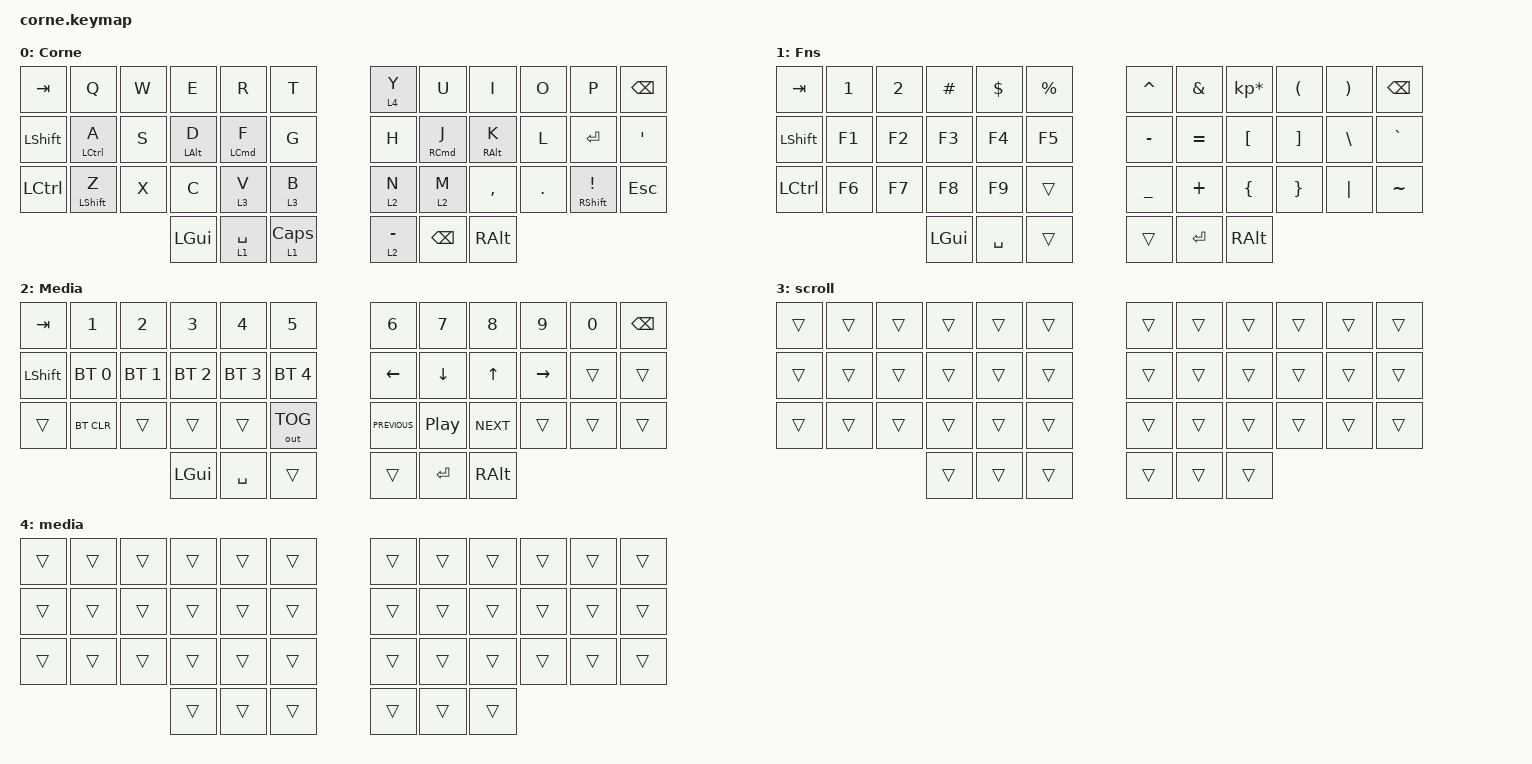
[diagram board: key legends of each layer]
/*
 * Copyright (c) 2020 The ZMK Contributors
 *
 * SPDX-License-Identifier: MIT
 */

#include <behaviors.dtsi>
#include <dt-bindings/zmk/bt.h>
#include <dt-bindings/zmk/keys.h>
#include <dt-bindings/zmk/outputs.h>

/ {
    combos {
        compatible = "zmk,combos";

        tab {
            bindings = <&kp TAB>;
            key-positions = <1 2>;
        };

        kakko {
            bindings = <&kp LEFT_BRACKET>;
            key-positions = <16 15>;
        };

        kakkotoji {
            bindings = <&kp RIGHT_BRACKET>;
            key-positions = <19 20>;
        };
    };

    keymap {
        compatible = "zmk,keymap";

        default_layer {
            // --------------------------------------   ---------------------------------------
            // |  TAB |  Q  |  W  |  E  |  R  |  T  |   |  Y  |  U   |  I  |  O  |  P  | BKSP |
            // | SHFT |  A  |  S  |  D  |  F  |  G  |   |  H  |  J   |  K  |  L  |  ;  |  '   |
            // | CTRL |  Z  |  X  |  C  |  V  |  B  |   |  N  |  M   |  ,  |  .  |  /  | ESC  |
            //                    | GUI | SPC | LWR |   | RSE | ENT  | ALT |

            label = " Corne";
            bindings = <
&kp TAB    &kp Q               &kp W  &kp E           &kp R               &kp T         &lt 4 Y      &kp U                &kp I            &kp O    &kp P                        &kp BSPC
&kp LSHFT  &mt LEFT_CONTROL A  &kp S  &mt LEFT_ALT D  &mt LEFT_COMMAND F  &kp G         &kp H        &mt RIGHT_COMMAND J  &mt RIGHT_ALT K  &kp L    &kp ENTER                    &kp SQT
&kp LCTRL  &mt LEFT_SHIFT Z    &kp X  &kp C           &lt 3 V             &lt 3 B       &lt 2 N      &lt 2 M              &kp COMMA        &kp DOT  &mt RIGHT_SHIFT EXCLAMATION  &kp ESC
                                      &kp LGUI        &lt 1 SPACE         &lt 1 CAPS    &lt 2 MINUS  &kp BACKSPACE        &kp RALT
            >;
        };

        number {
            // --------------------------------------   --------------------------------------
            // |  TAB |  !  |  @  |  #  |  $  |  %  |   |  ^  |  &  |  *  |  (  |  )  | BKSP |
            // | SHFT | Fn1 | Fn2 | Fn3 | Fn4 | Fn5 |   |  -  |  =  |  [  |  ]  |  \  |  `   |
            // | CTRL | Fn6 | Fn7 | Fn8 | Fn9 |     |   |  _  |  +  |  {  |  }  | "|" |  ~   |
            //                    | GUI | SPC |     |   |     | ENT | ALT |

            label = " Fns";
            bindings = <
&kp TAB    &kp NUMBER_1  &kp NUMBER_2  &kp HASH  &kp DLLR   &kp PRCNT    &kp CARET  &kp AMPS   &kp KP_MULTIPLY  &kp LPAR  &kp RPAR  &kp BSPC
&kp LSHFT  &kp F1        &kp F2        &kp F3    &kp F4     &kp F5       &kp MINUS  &kp EQUAL  &kp LBKT         &kp RBKT  &kp BSLH  &kp GRAVE
&kp LCTRL  &kp F6        &kp F7        &kp F8    &kp F9     &trans       &kp UNDER  &kp PLUS   &kp LBRC         &kp RBRC  &kp PIPE  &kp TILDE
                                       &kp LGUI  &kp SPACE  &trans       &trans     &kp RET    &kp RALT
            >;
        };

        cursol {
            // --------------------------------------   --------------------------------------
            // |  TAB |  1  |  2  |  3  |  4  |  5  |   |  6  |  7  |  8  |  9  |  0  | BKSP |
            // | SHFT | BT1 | BT2 | BT3 | BT4 | BT5 |   | LFT | DWN |  UP | RGT |     |      |
            // |      |BTCLR|     |     |     |OUTTG|   | <<  | >|| |  >> |     |     |      |
            //                    | GUI | SPC |     |   |     | ENT | ALT |

            label = " Media";
            bindings = <
&kp TAB    &kp N1        &kp N2        &kp N3        &kp N4        &kp N5          &kp N6          &kp N7            &kp N8      &kp N9     &kp N0  &kp BSPC
&kp LSHFT  &bt BT_SEL 0  &bt BT_SEL 1  &bt BT_SEL 2  &bt BT_SEL 3  &bt BT_SEL 4    &kp LEFT        &kp DOWN          &kp UP      &kp RIGHT  &trans  &trans
&trans     &bt BT_CLR    &trans        &trans        &trans        &out OUT_TOG    &kp C_PREVIOUS  &kp C_PLAY_PAUSE  &kp C_NEXT  &trans     &trans  &trans
                                       &kp LGUI      &kp SPACE     &trans          &trans          &kp RET           &kp RALT
            >;
        };

        scroll {
            bindings = <
&trans  &trans  &trans  &trans  &trans  &trans    &trans  &trans  &trans  &trans  &trans  &trans
&trans  &trans  &trans  &trans  &trans  &trans    &trans  &trans  &trans  &trans  &trans  &trans
&trans  &trans  &trans  &trans  &trans  &trans    &trans  &trans  &trans  &trans  &trans  &trans
                        &trans  &trans  &trans    &trans  &trans  &trans
            >;
        };

        media {
            bindings = <
&trans  &trans  &trans  &trans  &trans  &trans    &trans  &trans  &trans  &trans  &trans  &trans
&trans  &trans  &trans  &trans  &trans  &trans    &trans  &trans  &trans  &trans  &trans  &trans
&trans  &trans  &trans  &trans  &trans  &trans    &trans  &trans  &trans  &trans  &trans  &trans
                        &trans  &trans  &trans    &trans  &trans  &trans
            >;
        };
    };
};
